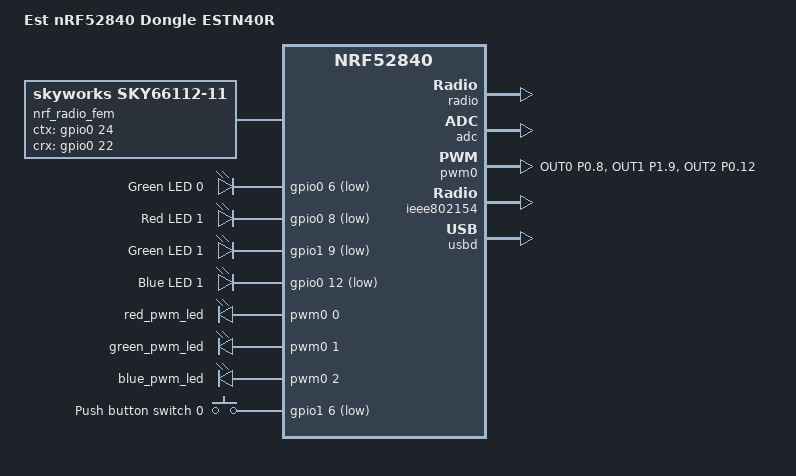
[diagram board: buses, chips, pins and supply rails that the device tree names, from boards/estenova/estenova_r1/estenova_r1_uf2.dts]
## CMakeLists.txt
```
#
# Copyright (c) 2018 Nordic Semiconductor
#
# SPDX-License-Identifier: LicenseRef-Nordic-5-Clause
#
cmake_minimum_required(VERSION 3.20.0)

# Configure build metadata from git (best-effort)
find_package(Git)

if(GIT_EXECUTABLE)
  execute_process(
    COMMAND ${GIT_EXECUTABLE} branch --show-current
    WORKING_DIRECTORY ${CMAKE_SOURCE_DIR}
    OUTPUT_VARIABLE GIT_BRANCH
    )
  # Prefer a https URL for display (falls back to 'unknown')
  execute_process(
    COMMAND ${GIT_EXECUTABLE} config --get remote.origin.url
    WORKING_DIRECTORY ${CMAKE_SOURCE_DIR}
    OUTPUT_VARIABLE GIT_REPO_URL_SSH
    )
  execute_process(
    COMMAND ${GIT_EXECUTABLE} config --get remote.origin.https.url
    WORKING_DIRECTORY ${CMAKE_SOURCE_DIR}
    OUTPUT_VARIABLE GIT_REPO_URL_HTTPS
    )
  execute_process(
    COMMAND ${GIT_EXECUTABLE} log -1 --pretty=%an
    WORKING_DIRECTORY ${CMAKE_SOURCE_DIR}
    OUTPUT_VARIABLE GIT_AUTHOR
    )
endif()

if(GIT_BRANCH STREQUAL "")
  set(GIT_BRANCH unknown)
  message(WARNING "Unknown Git Branch")
endif()
# Choose URL: origin.https.url > origin.url
if(NOT GIT_REPO_URL_HTTPS STREQUAL "")
  set(GIT_REPO_URL ${GIT_REPO_URL_HTTPS})
else()
  set(GIT_REPO_URL ${GIT_REPO_URL_SSH})
endif()

# Normalize GitHub SSH URLs to HTTPS for display in firmware info
if(GIT_REPO_URL MATCHES "^git@github\\.com:(.+)$")
  set(GIT_REPO_URL "https://github.com/${CMAKE_MATCH_1}")
elseif(GIT_REPO_URL MATCHES "^ssh://git@github\\.com/(.+)$")
  set(GIT_REPO_URL "https://github.com/${CMAKE_MATCH_1}")
endif()
string(REGEX REPLACE "\\.git$" "" GIT_REPO_URL "${GIT_REPO_URL}")

if(GIT_REPO_URL STREQUAL "")
  set(GIT_REPO_URL unknown)
  message(WARNING "Unknown Git Repo URL")
endif()
if(GIT_AUTHOR STREQUAL "")
  set(GIT_AUTHOR unknown)
  message(WARNING "Unknown Git Author")
endif()

string(STRIP ${GIT_BRANCH} GIT_BRANCH)
string(STRIP ${GIT_REPO_URL} GIT_REPO_URL)
string(STRIP ${GIT_AUTHOR} GIT_AUTHOR)

# Pass metadata to C compilation units
add_compile_definitions(
  FW_GIT_BRANCH="${GIT_BRANCH}"
  FW_GIT_REPO_URL="${GIT_REPO_URL}"
  FW_GIT_AUTHOR="${GIT_AUTHOR}"
)

set(SLIMEVR_RECEIVER_HID_OVERLAY ${CMAKE_CURRENT_SOURCE_DIR}/boards/receiver_hid.overlay)
set(SLIMEVR_RECEIVER_ENTROPY_OVERLAY ${CMAKE_CURRENT_SOURCE_DIR}/boards/receiver_entropy.overlay)

if(DEFINED EXTRA_DTC_OVERLAY_FILE)
  set(EXTRA_DTC_OVERLAY_FILE ${SLIMEVR_RECEIVER_HID_OVERLAY} ${EXTRA_DTC_OVERLAY_FILE} ${SLIMEVR_RECEIVER_ENTROPY_OVERLAY})
else()
  set(EXTRA_DTC_OVERLAY_FILE ${SLIMEVR_RECEIVER_HID_OVERLAY} ${SLIMEVR_RECEIVER_ENTROPY_OVERLAY})
endif()

find_package(Zephyr REQUIRED HINTS $ENV{ZEPHYR_BASE})
project(NONE)

FILE(GLOB_RECURSE app_sources CONFIGURE_DEPENDS src/*.c)
if(NOT CONFIG_RELAY)
  list(FILTER app_sources EXCLUDE REGEX ".*/connection/relay_coord\\.c$")
endif()
# Data collection: choose HID or CDC implementation, or exclude both
if(CONFIG_DATA_COLLECT)
  if(CONFIG_DATA_COLLECT_HID)
    # HID mode: exclude CDC implementation
    list(FILTER app_sources EXCLUDE REGEX ".*data_collect\\.c$")
  else()
    # CDC mode: exclude HID implementation
    list(FILTER app_sources EXCLUDE REGEX ".*data_collect_hid\\.c$")
  endif()
else()
  # No data collection: exclude both
  list(FILTER app_sources EXCLUDE REGEX ".*data_collect.*\\.c$")
endif()
# NORDIC SDK APP START
target_sources(app PRIVATE ${app_sources})
# NORDIC SDK APP END

target_include_directories(app PRIVATE src)

# Force recompile for updated build timestamp
add_custom_target(touch_util_h ALL
    COMMAND ${CMAKE_COMMAND} -E touch ${CMAKE_SOURCE_DIR}/src/build_defines.h
)
```

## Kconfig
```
#
# Copyright (c) 2020 Nordic Semiconductor
#
# SPDX-License-Identifier: LicenseRef-Nordic-5-Clause
#

choice
	prompt "Status LED color mapping"
    default LED_TRI_COLOR

config LED_RGB_COLOR
    bool "Use RGB color mapping"
    help
        Use RGB or RG color mapping for LED status if available.

config LED_TRI_COLOR
    bool "Use default color mapping"
    help
        Use the default color mapping for LED status.

endchoice

menu "Status LED default status color"
    depends on LED_RGB_COLOR

config LED_DEFAULT_COLOR_R
    int "Red value"
    range 0 10000
    default 4000
    depends on LED_RGB_COLOR
    help
        Red color for default status.
        Valid range is 0 to 10000.

config LED_DEFAULT_COLOR_G
    int "Green value"
    range 0 10000
    default 6000
    depends on LED_RGB_COLOR
    help
        Green color for default status.
        Valid range is 0 to 10000.

config LED_DEFAULT_COLOR_B
    int "Blue value"
    range 0 10000
    default 0
    depends on LED_RGB_COLOR
    help
        Blue color for default status.
        Valid range is 0 to 10000.

endmenu

config RADIO_TX_POWER
    int "Radio output power (dBm)"
    default 30
    help
        Radio output power level.
        A lower value may reduce power consumption.

config RADIO_RF_CHANNEL
    int "Radio RF channel"
    default 2
    help
        Radio RF channel (0-100).
        Must match the receiver channel.

config RADIO_AUTO_CHANNEL
    bool "Loss-triggered runtime receiver channel avoidance"
    default y
    select ENTROPY_GENERATOR
    help
        Compile automatic avoidance support; runtime starts disabled on every
        boot. Explicit channelauto on enables it until reboot.
        Exchange short no-ACK identity beacons on the working channel
        every 2-4 seconds. A full 10-second normal sequence-loss window
        with at least 100 inferred frames and strictly more than 20% loss starts
        a distributed energy survey and finalist confirmation. Choose only
        even channels 0-88 with strictly quieter accepted peak energy than
        HOME; ties and incomplete coverage do not move. Matched paired-address
        activity rejects a visit. Known peer channels are excluded; HOME-only
        beacons do not negotiate destinations or prove other channels vacant.
        No observed peer is required for one trial migration. After a
        successful move and original-roster recovery, a fresh window on a
        stable receiver layout with persistent >20% loss stops automatic
        radio actions and suggests possible host USB/RF
        interference: use an extension cable and move away from the host.
        Explicit channelauto on or reboot clears the persistent-loss stop;
        reboot leaves avoidance disabled.
        Manual settings retain range 0-100; candidate channel 90 is excluded.
        Defers during pairing, OTA, raw capture and channel operations.
        Test-all suspends loss scans; working-channel beacons continue.
        A manual override disables avoidance until explicit channelauto on.

config RADIO_RETRANSMIT_DELAY
    int "Radio retransmit delay (µs)"
    default 600
    help
        Radio retransmit delay.

config PAIRING_TIMEOUT
    int "Pairing mode timeout (seconds)"
    default 300
    help
        Timeout for pairing mode in seconds.
        After this time, pairing mode will automatically exit.
        Default is 300 seconds (5 minutes).
        Set to 0 to disable timeout.

config DATA_COLLECT
    bool "Enable raw sensor data collection interface"
    default n
    help
        Enable streaming raw IMU and magnetometer data from trackers.
        Choose HID or CDC transport via DATA_COLLECT_HID.

config DATA_COLLECT_HID
    bool "Use HID endpoint for data collection (instead of CDC serial)"
    depends on DATA_COLLECT
    default y
    help
        When enabled, raw data is sent via a dedicated HID endpoint.
        When disabled, raw data is sent via a second CDC ACM serial port.

config SLIMEVR_USB_DEVICE_VID
    hex "SlimeVR USB vendor ID"
    default 0x1209
    help
        USB vendor ID used by the SlimeVR USBD_NEXT device.

config SLIMEVR_USB_DEVICE_PID
    hex "SlimeVR USB product ID"
    default 0x7690
    help
        USB product ID used by the SlimeVR receiver firmware.

config SLIMEVR_USB_DEVICE_MANUFACTURER
    string "SlimeVR USB manufacturer"
    default "SlimeVR"
    help
        USB manufacturer string and console banner prefix.

config SLIMEVR_USB_DEVICE_PRODUCT
    string "SlimeVR USB product"
    default "SlimeNRF Receiver"
    help
        USB product string and console banner name.

config SLIMEVR_USB_DEVICE_MAX_POWER
    int "SlimeVR USB max power"
    range 0 250
    default 100
    help
        USB bMaxPower value in 2 mA units.

menu "TDMA diagnostics"

config TDMA_DIAGNOSTICS
    bool "Compile in TDMA/RF phase diagnostics"
    default n
    help
        Per-tracker phase/RSSI histograms, arrival phase checks, PING
        bias/skew and rejection tracking, the TDMA Stats phase warning,
        and the console health snapshot.
        Disable for production builds to remove diagnostic timestamps,
        phase accounting and warning calculations from the radio paths.
        TDMA scheduling, membership, loss control, PING/PONG clock sync
        and ordinary packet statistics stay functional without this
        option; only measurement instrumentation is removed.

endmenu

# App defaults must precede the SDK defaults.
# With RTT in its own section at the RAM start, MPU alignment of the relay
# RAM functions adds about 15 KB of padding. RTT stays enabled either way.
choice SEGGER_RTT_SECTION
    default SEGGER_RTT_SECTION_NONE if RELAY
endchoice

# The `relay` console dump goes through the deferred log buffer and loses its
# first lines at 4 KB with 11 trackers. Builds without relay keep 4 KB.
config LOG_BUFFER_SIZE
    default 16384 if RELAY && !SOC_NRF52833
    default 4096

source "Kconfig.zephyr"

config RELAY
    bool "Receiver-coordinated peer relay (relay v3)"
    default y if SRAM_SIZE >= 128 && !(SOC_NRF52833 && DATA_COLLECT)
    depends on ESB_HAS_PRX_BROADCAST && ESB_HAS_RX_METADATA
    select ESB_PRX_BROADCAST
    select ESB_RX_METADATA
    help
        Enable peer relay when the SDK provides the optional ESB extensions.
        It is on by default on every SoC the SDK supports with at least
        128 KB of RAM. Stock sdk-nrf builds retain the ordinary direct
        tracker protocol. The SDK broadcast is nRF52-only for now; nRF54L
        receivers (DPPI, GRTC) are WIP.
        nRF52833 runs relay code from flash and is not recommended as a
        relay receiver. On nRF52833, relay and
        DATA_COLLECT do not fit together, so relay defaults off there when
        raw data collection is enabled.

if RELAY

config RELAY_RAMFUNC
    bool "Run relay freeze and repeat code from RAM"
    default n if SOC_NRF52833
    default y

config RELAY_RESCUE_DIAGNOSTICS
    bool "Rescue candidate eligibility ledger"
    default n
    depends on RELAY_FRAME_LEDGER

config RELAY_CYCLE_DIAGNOSTICS
    bool "Detailed relay CPU cycle diagnostics"
    depends on CPU_CORTEX_M_HAS_DWT
    default n
    help
        Measure relay processing with DWT. Production omits these probes.

config RELAY_IRQ_DIAGNOSTICS
    bool "Whole relay IRQ lock duration probes"
    depends on CPU_CORTEX_M_HAS_DWT
    default n
    help
        Diagnostic-only DWT maxima for complete source or coordinator locks.
        Retains all production guards. Never enable for acceptance images.

config RELAY_RUNTIME_LAYOUT
    bool
    default y

config RELAY_MAX_TRACKERS
    int "Maximum private relay members"
    range 1 16
    default 16

config RELAY_MAX_REPAIRS
    int "Maximum ordinary repair slots"
    range 0 5
    default 5

config RELAY_REPAIR_FLOOR
    int "Minimum ordinary repair slots (experimental below ceiling)"
    range 0 5
    default RELAY_MAX_REPAIRS
    help
      Equal to the ceiling selects production static repair. Lower values
      explicitly opt into experimental on-demand repair.

config RELAY_EXPERIMENTAL_SLOT_15
    bool "Allow experimental 15-tick relay slots"
    default n

config RELAY_SLOT_TICKS
    int "Private relay slot width"
    range 15 16 if RELAY_EXPERIMENTAL_SLOT_15
    range 16 16 if !RELAY_EXPERIMENTAL_SLOT_15
    default 16

config RELAY_TPS_MIN
    int "TPS target held by shrinking repair slots"
    range 1 32768
    default 120

config RELAY_TPS_MAX
    int "Private relay TPS cap"
    range 1 32768
    default 120

config RELAY_FORCE_FULL_FLEET_PLAN
    bool "Plan B at the full-fleet lead"
    default n
    help
        Exercise live direct-slot planning even with a partially populated fleet.
        Applies to every runtime layout when enabled.

endif # RELAY
```

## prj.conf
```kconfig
#CONFIG_NCS_SAMPLES_DEFAULTS
CONFIG_ASSERT=y
CONFIG_ASSERT_NO_COND_INFO=y
CONFIG_ASSERT_NO_MSG_INFO=y
CONFIG_RESET_ON_FATAL_ERROR=n
CONFIG_REBOOT=y

CONFIG_NCS_APPLICATION_BOOT_BANNER_STRING="SlimeVR-Tracker-nRF-Receiver"
#CONFIG_NCS_BOOT_BANNER=n
CONFIG_BOOT_BANNER=n

# HEX carries mapped-partition addresses for native UF2 generation.
CONFIG_BUILD_OUTPUT_HEX=y

CONFIG_ESB=y
CONFIG_PICOLIBC=y
CONFIG_CBPRINTF_FP_SUPPORT=y

CONFIG_FPU=y

CONFIG_USB_DEVICE_STACK_NEXT=y
CONFIG_USBD_HID_SUPPORT=y
CONFIG_USBD_CDC_ACM_CLASS=y
CONFIG_CDC_ACM_SERIAL_INITIALIZE_AT_BOOT=n
CONFIG_SLIMEVR_USB_DEVICE_VID=0x1209
CONFIG_SLIMEVR_USB_DEVICE_PID=0x7690
CONFIG_UART_INTERRUPT_DRIVEN=y
#CONFIG_USB_WORKQUEUE_STACK_SIZE=512

CONFIG_SERIAL=y
CONFIG_CONSOLE=y
CONFIG_UART_CONSOLE=y
CONFIG_UART_LINE_CTRL=y

CONFIG_USE_SEGGER_RTT=y
CONFIG_LOG=y
#CONFIG_PRINTK=y
CONFIG_LOG_MODE_DEFERRED=y
CONFIG_LOG_SPEED=y
CONFIG_LOG_BACKEND_RTT=y
CONFIG_USBD_LOG_LEVEL_WRN=y
CONFIG_UDC_DRIVER_LOG_LEVEL_WRN=y
CONFIG_USBD_CDC_ACM_LOG_LEVEL_OFF=y
CONFIG_UDC_BUF_POOL_SIZE=4096
CONFIG_LOG_PROCESS_THREAD_SLEEP_MS=100
CONFIG_LOG_PROCESS_THREAD_STACK_SIZE=1024
CONFIG_LOG_PROCESS_THREAD_STARTUP_DELAY_MS=0

CONFIG_LOG_BACKEND_UART=y
CONFIG_LOG_BACKEND_UART_AUTOSTART=n
CONFIG_LOG_MODE_DEFERRED=y

CONFIG_CONSOLE_SUBSYS=y

CONFIG_NVS_LOG_LEVEL_WRN=y
CONFIG_USBD_HID_LOG_LEVEL_WRN=y

CONFIG_USBD_HID_IN_BUF_COUNT=4
CONFIG_USBD_HID_OUT_BUF_COUNT=4

CONFIG_GPIO=y
CONFIG_PWM=y

CONFIG_NVS=y

CONFIG_FLASH=y
CONFIG_FLASH_PAGE_LAYOUT=y
CONFIG_FLASH_MAP=y
CONFIG_USE_DT_CODE_PARTITION=y

CONFIG_SETTINGS=y
CONFIG_SETTINGS_NVS=y
CONFIG_SETTINGS_RUNTIME=y
CONFIG_SETTINGS_NONE=y

CONFIG_MPU_ALLOW_FLASH_WRITE=y

CONFIG_NVS_LOOKUP_CACHE=y

CONFIG_ESB_MAX_PAYLOAD_LENGTH=72
CONFIG_ESB_TX_FIFO_SIZE=16
CONFIG_ESB_RX_FIFO_SIZE=16
# CONFIG_NRFX_TIMER1=y

#speed up boot? (use internal rc oscillator)
#CONFIG_CLOCK_CONTROL_NRF_K32SRC_RC=y
#speed up boot? (synthesize lf clock)
CONFIG_CLOCK_CONTROL_NRF_K32SRC_SYNTH=y

# dont need it
CONFIG_CRYPTO=n

CONFIG_THREAD_NAME=y
CONFIG_SYSTEM_WORKQUEUE_STACK_SIZE=2048
CONFIG_MAIN_STACK_SIZE=2048

#CONFIG_HEAP_MEM_POOL_SIZE=2048
CONFIG_ISR_STACK_SIZE=1024

CONFIG_RADIO_RF_CHANNEL=84
CONFIG_RADIO_RETRANSMIT_DELAY=310
CONFIG_RADIO_TX_POWER=30

CONFIG_LTO=y
CONFIG_ISR_TABLES_LOCAL_DECLARATION=y

# B launch uses an RTC compare event to start the ESB timer through PPI.
CONFIG_NRF_RTC_TIMER_USER_CHAN_COUNT=2
```

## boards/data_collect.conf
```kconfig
# Enable raw sensor data collection interface
CONFIG_DATA_COLLECT=y
# Use HID endpoint (set to n for CDC serial mode)
CONFIG_DATA_COLLECT_HID=y
CONFIG_USB_HID_DEVICE_COUNT=2
```

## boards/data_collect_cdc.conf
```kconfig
# Enable raw sensor data collection via CDC serial port
CONFIG_DATA_COLLECT=y
CONFIG_DATA_COLLECT_HID=n
# Keep CDC ACM buffers modest: this build creates two CDC ACM interfaces,
# so the global ringbuf size is multiplied across multiple RX/TX buffers.
CONFIG_USB_CDC_ACM_RINGBUF_SIZE=4096
```

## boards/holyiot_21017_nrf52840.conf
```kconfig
# Requested aggregate output at the antenna. MPSL subtracts the 22 dB FEM gain
# to set the SoC TXPOWER (28 dBm -> +6 dBm SoC), leaving 2 dB below prj.conf's
# 30 dBm, which drives the SKY66112 PA at its limit.
CONFIG_RADIO_TX_POWER=28
```

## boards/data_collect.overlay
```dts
/* Data collection HID interface - only included when CONFIG_DATA_COLLECT=y.
 * Uses second HID instance (HID_1) for raw sensor data output.
 * No CDC ACM needed - data goes via HID interrupt endpoint. */
```

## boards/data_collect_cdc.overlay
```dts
/* CDC ACM interface for data collection (serial mode) */
&usbd {
	cdc_acm_uart1: cdc_acm_uart1 {
		compatible = "zephyr,cdc-acm-uart";
	};
};
```

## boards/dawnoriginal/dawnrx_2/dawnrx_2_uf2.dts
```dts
// Copyright (c) 2024 Nordic Semiconductor ASA
// SPDX-License-Identifier: Apache-2.0

/dts-v1/;
#include <nordic/nrf52833_qdaa.dtsi>
#include <zephyr/dt-bindings/input/input-event-codes.h>

&pinctrl {
	pwm0_default: pwm0_default {
		group1 {
			psels = <NRF_PSEL(PWM_OUT0, 1, 9)>;
			nordic,invert;
		};
	};

	pwm0_sleep: pwm0_sleep {
		group1 {
			psels = <NRF_PSEL(PWM_OUT0, 1, 9)>;
			low-power-enable;
		};
	};
};

/ {
	model = "Dawn Tracker nRF Receiver 2";
	compatible = "dawnrx_2_uf2";

	chosen {
		zephyr,console = &cdc_acm_uart;
		zephyr,shell-uart = &cdc_acm_uart;
		zephyr,uart-mcumgr = &cdc_acm_uart;
		zephyr,bt-mon-uart = &cdc_acm_uart;
		zephyr,bt-c2h-uart = &cdc_acm_uart;
		zephyr,sram = &sram0;
		zephyr,flash = &flash0;
		zephyr,ieee802154 = &ieee802154;
	};

	nrf_radio_fem: sky66112_fem {
		compatible = "skyworks,sky66112-11", "radio-fem-two-ctrl-pins";
		ctx-gpios = <&gpio0 10 GPIO_ACTIVE_HIGH>;
		ctx-settle-time-us = <2>;
		crx-gpios = <&gpio0 9 GPIO_ACTIVE_HIGH>;
		crx-settle-time-us = <2>;
		tx-gain-db = <22>;
		rx-gain-db = <12>;
	};

	leds {
		compatible = "gpio-leds";
		led0: led_0 {
			gpios = <&gpio1 9 GPIO_ACTIVE_LOW>;
			label = "Status LED";
		};
	};

	pwmleds {
		compatible = "pwm-leds";
		pwm_led0: pwm_led_0 {
			pwms = <&pwm0 0 PWM_MSEC(1) PWM_POLARITY_INVERTED>;
		};
	};

	buttons {
		compatible = "gpio-keys";
		button0: button_0 {
			gpios = <&gpio0 11 (GPIO_PULL_UP | GPIO_ACTIVE_LOW)>;
			label = "Pairing button";
			zephyr,code = <INPUT_KEY_0>;
		};
	};

	aliases {
		sw0 = &button0;
		led0 = &led0;
		pwm-led0 = &pwm_led0;
		watchdog0 = &wdt0;
	};
};

&reg0 {
	status = "disabled";
};

&reg1 {
	regulator-initial-mode = <NRF5X_REG_MODE_LDO>;
};

&radio {
	fem = <&nrf_radio_fem>;
};

&adc {
	status = "okay";
};

&gpio0 {
	status = "okay";
};

&gpio1 {
	status = "okay";
};

&gpiote {
	status = "okay";
};

&uicr {
	nfct-pins-as-gpios;
	gpio-as-nreset;
};

&pwm0 {
	status = "okay";
	pinctrl-0 = <&pwm0_default>;
	pinctrl-1 = <&pwm0_sleep>;
	pinctrl-names = "default", "sleep";
};

&ieee802154 {
	status = "okay";
};

zephyr_udc0: &usbd {
	compatible = "nordic,nrf-usbd";
	status = "okay";

	cdc_acm_uart: cdc_acm_uart {
		compatible = "zephyr,cdc-acm-uart";
	};
};
```

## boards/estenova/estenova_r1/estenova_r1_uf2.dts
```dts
// Copyright (c) 2024 Nordic Semiconductor ASA
// SPDX-License-Identifier: Apache-2.0

/dts-v1/;
#include <nordic/nrf52840_qiaa.dtsi>
#include <zephyr/dt-bindings/input/input-event-codes.h>

&pinctrl {
	pwm0_default: pwm0_default {
		group1 {
			psels = <NRF_PSEL(PWM_OUT0, 0, 8)>,
				<NRF_PSEL(PWM_OUT1, 1, 9)>,
				<NRF_PSEL(PWM_OUT2, 0, 12)>;
			nordic,invert;
		};
	};

	pwm0_sleep: pwm0_sleep {
		group1 {
			psels = <NRF_PSEL(PWM_OUT0, 0, 8)>,
				<NRF_PSEL(PWM_OUT1, 1, 9)>,
				<NRF_PSEL(PWM_OUT2, 0, 12)>;
			low-power-enable;
		};
	};
};

/ {
	model = "Est nRF52840 Dongle ESTN40R";
	compatible = "estenova_r1_uf2";

	chosen {
		zephyr,console = &cdc_acm_uart;
		zephyr,shell-uart = &cdc_acm_uart;
		zephyr,uart-mcumgr = &cdc_acm_uart;
		zephyr,bt-mon-uart = &cdc_acm_uart;
		zephyr,bt-c2h-uart = &cdc_acm_uart;
		zephyr,sram = &sram0;
		zephyr,flash = &flash0;
		zephyr,ieee802154 = &ieee802154;
	};

	nrf_radio_fem: skyFem {
		compatible = "skyworks,sky66112-11", "radio-fem-two-ctrl-pins";
		ctx-gpios = <&gpio0 24 GPIO_ACTIVE_HIGH>;
		ctx-settle-time-us = <2>;
		crx-gpios = <&gpio0 22 GPIO_ACTIVE_HIGH>;
		crx-settle-time-us = <2>;
		tx-gain-db = <22>;
		rx-gain-db = <12>;
	};

	leds {
		compatible = "gpio-leds";
		led0_green: led_0 {
			gpios = <&gpio0 6 GPIO_ACTIVE_LOW>;
			label = "Green LED 0";
		};
		led1_red: led_1 {
			gpios = <&gpio0 8 GPIO_ACTIVE_LOW>;
			label = "Red LED 1";
		};
		led1_green: led_2 {
			gpios = <&gpio1 9 GPIO_ACTIVE_LOW>;
			label = "Green LED 1";
		};
		led1_blue: led_3 {
			gpios = <&gpio0 12 GPIO_ACTIVE_LOW>;
			label = "Blue LED 1";
		};
	};

	pwmleds {
		compatible = "pwm-leds";
		red_pwm_led: pwm_led_0 {
			pwms = <&pwm0 0 PWM_MSEC(1) PWM_POLARITY_INVERTED>;
		};
		green_pwm_led: pwm_led_1 {
			pwms = <&pwm0 1 PWM_MSEC(1) PWM_POLARITY_INVERTED>;
		};
		blue_pwm_led: pwm_led_2 {
			pwms = <&pwm0 2 PWM_MSEC(1) PWM_POLARITY_INVERTED>;
		};
	};

	buttons {
		compatible = "gpio-keys";
		button0: button_0 {
			gpios = <&gpio1 6 (GPIO_PULL_UP | GPIO_ACTIVE_LOW)>;
			label = "Push button switch 0";
			zephyr,code = <INPUT_KEY_0>;
		};
	};

	aliases {
		sw0 = &button0;
		led0 = &led0_green;
		led1 = &led1_red;
		led2 = &led1_green;
		led3 = &led1_blue;
		led0-green = &led0_green;
		led1-red   = &led1_red;
		led1-green = &led1_green;
		led1-blue  = &led1_blue;
		pwm-led0 = &red_pwm_led;
		pwm-led1 = &green_pwm_led;
		pwm-led2 = &blue_pwm_led;
		red-pwm-led = &red_pwm_led;
		green-pwm-led = &green_pwm_led;
		blue-pwm-led = &blue_pwm_led;
		mcuboot-button0 = &button0;
		mcuboot-led0 = &led0_green;
		watchdog0 = &wdt0;
	};
};

&reg0 {
    status = "disabled";
};

&reg1 {
    regulator-initial-mode = <NRF5X_REG_MODE_LDO>;
};

&radio {
    fem = <&nrf_radio_fem>;
};

&adc {
	status = "okay";
};

&gpiote {
	status = "okay";
};

&uicr {
	nfct-pins-as-gpios;
	gpio-as-nreset;
};

&gpio0 {
	status = "okay";
};

&gpio1 {
	status = "okay";
};

&pwm0 {
	status = "okay";
	pinctrl-0 = <&pwm0_default>;
	pinctrl-1 = <&pwm0_sleep>;
	pinctrl-names = "default", "sleep";
};

&ieee802154 {
	status = "okay";
};

zephyr_udc0: &usbd {
	compatible = "nordic,nrf-usbd";
	status = "okay";

	cdc_acm_uart: cdc_acm_uart {
		compatible = "zephyr,cdc-acm-uart";
	};
};
```

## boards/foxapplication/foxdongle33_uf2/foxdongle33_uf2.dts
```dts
// Copyright (c) 2024 Nordic Semiconductor ASA
// SPDX-License-Identifier: Apache-2.0

/dts-v1/;
#include <nordic/nrf52833_qiaa.dtsi>
#include <zephyr/dt-bindings/input/input-event-codes.h>

&pinctrl {
	pwm0_default: pwm0_default {
		group1 {
			psels = <NRF_PSEL(PWM_OUT0, 0, 3)>,<NRF_PSEL(PWM_OUT0, 0, 28)>,<NRF_PSEL(PWM_OUT0, 0, 2)>;
			nordic,drive-mode = <NRF_DRIVE_D0S1>;
			nordic,invert;
		};
	};

	pwm0_sleep: pwm0_sleep {
		group1 {
			psels = <NRF_PSEL(PWM_OUT0, 0, 3)>,<NRF_PSEL(PWM_OUT0, 0, 28)>,<NRF_PSEL(PWM_OUT0, 0, 2)>;
			low-power-enable;
		};
	};
};

/ {
	model = "Foxapplication nRF52833 FoxDongle33";
	compatible = "foxdongle33_uf2";

	chosen {
		zephyr,console = &cdc_acm_uart;
		zephyr,shell-uart = &cdc_acm_uart;
		zephyr,uart-mcumgr = &cdc_acm_uart;
		zephyr,bt-mon-uart = &cdc_acm_uart;
		zephyr,bt-c2h-uart = &cdc_acm_uart;
		zephyr,sram = &sram0;
		zephyr,flash = &flash0;
		zephyr,ieee802154 = &ieee802154;
	};

	nrf_radio_fem: skyFem {
		compatible = "skyworks,sky66112-11", "generic-fem-two-ctrl-pins";
		ctx-gpios = <&gpio0 17 GPIO_ACTIVE_HIGH>;
		ctx-settle-time-us = <23>;
		crx-gpios = <&gpio0 15 GPIO_ACTIVE_HIGH>;
		crx-settle-time-us = <8>;
		tx-gain-db = <22>;
		rx-gain-db = <12>;
	};

	pwmleds {
		compatible = "pwm-leds";
		pwm_led0: pwm_led_0 {
			pwms = <&pwm0 0 PWM_MSEC(1) PWM_POLARITY_NORMAL>;
		};
		pwm_led1: pwm_led_1 {
			pwms = <&pwm0 1 PWM_MSEC(1) PWM_POLARITY_NORMAL>;
		};
		pwm_led2: pwm_led_2 {
			pwms = <&pwm0 2 PWM_MSEC(1) PWM_POLARITY_NORMAL>;
		};
	};
	leds {
		compatible = "gpio-leds";
		led0: led_0 {
			gpios = <&gpio0 28 GPIO_OPEN_SOURCE>;
		};
		led1: led_1 {
			gpios = <&gpio0 2 GPIO_OPEN_SOURCE>;
		};
		led2: led_2 {
			gpios = <&gpio0 3 GPIO_OPEN_SOURCE>;
		};
	};

	buttons {
		compatible = "gpio-keys";
		button0: button_0 {
			gpios = <&gpio0 4 (GPIO_PULL_UP | GPIO_ACTIVE_LOW)>;
			label = "Push button switch 0";
			zephyr,code = <INPUT_KEY_0>;
		};
	};

	aliases {
		sw0 = &button0;
		pwm-led0 = &pwm_led0;
		pwm-led1 = &pwm_led1;
		pwm-led2 = &pwm_led2;
		led0 = &led0;
		led1 = &led1;
		led2 = &led2;
		watchdog0 = &wdt0;
	};
};

&reg0 {
	status = "disabled";
};

&reg1 {
	regulator-initial-mode = <NRF5X_REG_MODE_LDO>;
};

&radio {
	fem = <&nrf_radio_fem>;
};

&adc {
	status = "okay";
};

&gpio0 {
	status = "okay";
};

&gpio1 {
	status = "okay";
};

&gpiote {
	status = "okay";
};

&uicr {
	nfct-pins-as-gpios;
	gpio-as-nreset;
};

&pwm0 {
	status = "okay";
	pinctrl-0 = <&pwm0_default>;
	pinctrl-1 = <&pwm0_sleep>;
	pinctrl-names = "default", "sleep";
};

&ieee802154 {
	status = "okay";
};

zephyr_udc0: &usbd {
	compatible = "nordic,nrf-usbd";
	status = "okay";

	cdc_acm_uart: cdc_acm_uart {
		compatible = "zephyr,cdc-acm-uart";
	};
};

&nfct {
	status = "disabled";
};
```

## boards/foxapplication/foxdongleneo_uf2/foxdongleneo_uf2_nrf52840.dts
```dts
// Copyright (c) 2024 Nordic Semiconductor ASA
// SPDX-License-Identifier: Apache-2.0

/dts-v1/;
#include <nordic/nrf52840_qiaa.dtsi>
#include <zephyr/dt-bindings/input/input-event-codes.h>

&pinctrl {
	pwm0_default: pwm0_default {
		group1 {
			psels = <NRF_PSEL(PWM_OUT0, 0, 13)>,
				<NRF_PSEL(PWM_OUT1, 0, 17)>,
				<NRF_PSEL(PWM_OUT2, 0, 15)>;
			nordic,drive-mode = <NRF_DRIVE_D0S1>;
		};
	};

	pwm0_sleep: pwm0_sleep {
		group1 {
			psels = <NRF_PSEL(PWM_OUT0, 0, 13)>,
				<NRF_PSEL(PWM_OUT1, 0, 17)>,
				<NRF_PSEL(PWM_OUT2, 0, 15)>;
			low-power-enable;
		};
	};
};

/ {
	model = "FoxApplication nRF52840 FoxDongleNEO";
	compatible = "foxapplication,foxdongleneo";

	chosen {
		zephyr,console = &cdc_acm_uart;
		zephyr,shell-uart = &cdc_acm_uart;
		zephyr,uart-mcumgr = &cdc_acm_uart;
		zephyr,sram = &sram0;
		zephyr,flash = &flash0;
	};

	nrf_radio_fem: radio-fem {
		compatible = "skyworks,sky66112-11", "radio-fem-two-ctrl-pins";
		ctx-gpios = <&gpio0 10 GPIO_ACTIVE_HIGH>;
		ctx-settle-time-us = <23>;
		crx-gpios = <&gpio0 9 GPIO_ACTIVE_HIGH>;
		crx-settle-time-us = <8>;
		tx-gain-db = <22>;
		rx-gain-db = <12>;
	};

	pwmleds {
		compatible = "pwm-leds";
		pwm_led0: pwm_led_0 {
			pwms = <&pwm0 0 PWM_MSEC(1) PWM_POLARITY_NORMAL>;
		};
		pwm_led1: pwm_led_1 {
			pwms = <&pwm0 1 PWM_MSEC(1) PWM_POLARITY_NORMAL>;
		};
		pwm_led2: pwm_led_2 {
			pwms = <&pwm0 2 PWM_MSEC(1) PWM_POLARITY_NORMAL>;
		};
	};

	leds {
		compatible = "gpio-leds";
		led0: led_0 {
			gpios = <&gpio0 13 GPIO_ACTIVE_HIGH>;
			label = "Red (P0.13)";
		};
		led1: led_1 {
			gpios = <&gpio0 17 GPIO_ACTIVE_HIGH>;
			label = "Green (P0.17)";
		};
		led2: led_2 {
			gpios = <&gpio0 15 GPIO_ACTIVE_HIGH>;
			label = "Blue (P0.15)";
		};
	};

	buttons {
		compatible = "gpio-keys";
		button0: button_0 {
			gpios = <&gpio1 9 (GPIO_PULL_UP | GPIO_ACTIVE_LOW)>;
			label = "Pairing button";
			zephyr,code = <INPUT_KEY_0>;
		};
	};

	aliases {
		sw0 = &button0;
		pwm-led0 = &pwm_led0;
		pwm-led1 = &pwm_led1;
		pwm-led2 = &pwm_led2;
		led0 = &led0;
		led1 = &led1;
		led2 = &led2;
		watchdog0 = &wdt0;
	};
};

&reg0 {
	status = "disabled";
};

&reg1 {
	regulator-initial-mode = <NRF5X_REG_MODE_LDO>;
};

&radio {
	fem = <&nrf_radio_fem>;
};

&gpio0 {
	status = "okay";
};

&gpio1 {
	status = "okay";
};

&gpiote {
	status = "okay";
};

&uicr {
	nfct-pins-as-gpios;
	gpio-as-nreset;
};

&pwm0 {
	status = "okay";
	pinctrl-0 = <&pwm0_default>;
	pinctrl-1 = <&pwm0_sleep>;
	pinctrl-names = "default", "sleep";
};

zephyr_udc0: &usbd {
	compatible = "nordic,nrf-usbd";
	status = "okay";

	cdc_acm_uart: cdc_acm_uart {
		compatible = "zephyr,cdc-acm-uart";
	};
};

&cryptocell {
	status = "disabled";
};

&nfct {
	status = "disabled";
};
```

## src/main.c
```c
/*
	SlimeVR Code is placed under the MIT license
	Copyright (c) 2025 SlimeVR Contributors

	Permission is hereby granted, free of charge, to any person obtaining a copy
	of this software and associated documentation files (the "Software"), to deal
	in the Software without restriction, including without limitation the rights
	to use, copy, modify, merge, publish, distribute, sublicense, and/or sell
	copies of the Software, and to permit persons to whom the Software is
	furnished to do so, subject to the following conditions:

	The above copyright notice and this permission notice shall be included in
	all copies or substantial portions of the Software.

	THE SOFTWARE IS PROVIDED "AS IS", WITHOUT WARRANTY OF ANY KIND, EXPRESS OR
	IMPLIED, INCLUDING BUT NOT LIMITED TO THE WARRANTIES OF MERCHANTABILITY,
	FITNESS FOR A PARTICULAR PURPOSE AND NONINFRINGEMENT. IN NO EVENT SHALL THE
	AUTHORS OR COPYRIGHT HOLDERS BE LIABLE FOR ANY CLAIM, DAMAGES OR OTHER
	LIABILITY, WHETHER IN AN ACTION OF CONTRACT, TORT OR OTHERWISE, ARISING FROM,
	OUT OF OR IN CONNECTION WITH THE SOFTWARE OR THE USE OR OTHER DEALINGS IN
	THE SOFTWARE.
*/
#include "globals.h"
#include "system/system.h"
#include "system/led.h"
#include "system/status.h"
#include "connection/esb.h"

#include <zephyr/kernel.h>
#include <zephyr/sys/reboot.h>
#if defined(CONFIG_BOOTLOADER_MCUBOOT)
#include <zephyr/dfu/mcuboot.h>
#endif

LOG_MODULE_REGISTER(main, LOG_LEVEL_INF);

static void boot_confirm_after_healthy_uptime(void)
{
#if defined(CONFIG_BOOTLOADER_MCUBOOT) || \
	(CONFIG_SOC_SERIES_NRF52 && CONFIG_BUILD_OUTPUT_UF2)
	int64_t remaining_ms = 60000 - k_uptime_get();
	if (remaining_ms > 0) {
		k_sleep(K_MSEC(remaining_ms));
	}
	sys_mark_boot_success();
#if defined(CONFIG_BOOTLOADER_MCUBOOT)
	if (!boot_is_img_confirmed()) {
		int err = boot_write_img_confirmed();
		if (err) {
			LOG_ERR("Failed to confirm MCUboot image: %d", err);
		} else {
			LOG_INF("MCUboot test image confirmed");
		}
	}
#endif
#endif
}

int main(void)
{
	// Initialize LED system first
	set_led(SYS_LED_PATTERN_ACTIVE_PERSIST, SYS_LED_PRIORITY_SYSTEM);

	// Boot sequence with button detection
	set_led(SYS_LED_PATTERN_ON, SYS_LED_PRIORITY_BOOT);

	// Check if button is pressed during boot
	if (button_read())
	{
		LOG_INF("Button detected during boot");
		int64_t boot_start = k_uptime_get();
		bool pairing_reset_saved = false;

		while (button_read())
		{
			if (k_uptime_get() - boot_start > 1000)
				set_led(SYS_LED_PATTERN_LONG, SYS_LED_PRIORITY_HIGHEST);
			if (k_uptime_get() - boot_start > 5000)
			{
				LOG_INF("Boot-time pairing reset requested");
				pairing_reset_saved = esb_clear() == 0;
				break;
			}
			k_msleep(10);
		}

		if (pairing_reset_saved)
			set_led(SYS_LED_PATTERN_ONESHOT_COMPLETE, SYS_LED_PRIORITY_HIGHEST);
		else if (k_uptime_get() - boot_start > 50) // Short press during boot
			set_led(SYS_LED_PATTERN_ONESHOT_POWERON, SYS_LED_PRIORITY_HIGHEST);
	}

	// Clear boot LED priority
	set_led(SYS_LED_PATTERN_OFF, SYS_LED_PRIORITY_BOOT);
	boot_confirm_after_healthy_uptime();

	return 0;
}
```

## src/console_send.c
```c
/*
	SlimeVR Code is placed under the MIT license
	Copyright (c) 2025 SlimeVR Contributors

	Permission is hereby granted, free of charge, to any person obtaining a copy
	of this software and associated documentation files (the "Software"), to deal
	in the Software without restriction, including without limitation the rights
	to use, copy, modify, merge, publish, distribute, sublicense, and/or sell
	copies of the Software, and to permit persons to whom the Software is
	furnished to do so, subject to the following conditions:

	The above copyright notice and this permission notice shall be included in
	all copies or substantial portions of the Software.

	THE SOFTWARE IS PROVIDED "AS IS", WITHOUT WARRANTY OF ANY KIND, EXPRESS OR
	IMPLIED, INCLUDING BUT NOT LIMITED TO THE WARRANTIES OF MERCHANTABILITY,
	FITNESS FOR A PARTICULAR PURPOSE AND NONINFRINGEMENT. IN NO EVENT SHALL THE
	AUTHORS OR COPYRIGHT HOLDERS BE LIABLE FOR ANY CLAIM, DAMAGES OR OTHER
	LIABILITY, WHETHER IN AN ACTION OF CONTRACT, TORT OR OTHERWISE, ARISING FROM,
	OUT OF OR IN CONNECTION WITH THE SOFTWARE OR THE USE OR OTHER DEALINGS IN
	THE SOFTWARE.
*/
#include "console_send.h"
#include "parse_args.h"

#include "rcv_cmd.h"

#include <stdlib.h>
#include <string.h>
#include <zephyr/sys/printk.h>

#define SENS_AUTO_MAX_REVOLUTIONS 100

static void console_send_flag(bool target_all, uint8_t tracker_id, uint8_t flag, const char *name)
{
	uint8_t tid = target_all ? RCV_HID_TARGET_ALL : tracker_id;
	uint8_t st = rcv_cmd_remote_flag(tid, flag);
	if (st == RCV_HID_ST_QUEUED) {
		if (target_all) {
			printk("%s request sent to all active trackers\n", name);
		} else {
			printk("%s request sent to tracker %d\n", name, tracker_id);
		}
	} else {
		printk("%s failed: status %u\n", name, st);
	}
}

void console_handle_send(char *arg, char *arg2, char *arg3, char *arg4, char *arg5)
{
	if (!arg || !arg2) {
		printk("Usage: send <id|all> <command>\n");
		printk("Examples:\n");
		printk("  send 0 shutdown      - Shutdown tracker 0\n");
		printk("  send all shutdown    - Shutdown all active trackers\n");
		printk("  send 1 calibrate     - Zero-bias calibration on tracker 1\n");
		printk("  send 1 calibrate acc - Accelerometer calibration (18 orientations)\n");
		printk("  send all meow        - Make all active trackers meow\n");
		printk("  send 2 reboot        - Reboot tracker 2\n");
		printk("  send 3 clear         - Clear pairing on tracker 3\n");
		printk("  send all dfu         - Enter DFU mode on all active trackers\n");
		printk(
			"Available commands: shutdown, calibrate [acc], meow, scan, mag, reboot, clear, dfu, sens, "
			"reset, ping, tcal, tdma, test, wom enter, wom timeout [minutes]\n"
		);
		return;
	}

	bool target_all = (strcmp(arg, "all") == 0);
	uint8_t tracker_id = 0;

	if (!target_all) {
		long id;
		if (!parse_long_bounded(arg, 0, 255, &id)) {
			printk("Invalid tracker ID. Use a number (0-255) or 'all'\n");
			return;
		}
		tracker_id = (uint8_t)id;
	}

	if (strcmp(arg2, "wom") == 0) {
		bool enter = arg3 && strcmp(arg3, "enter") == 0;
		if (!arg3 || (!enter && strcmp(arg3, "timeout") != 0) ||
		    arg5 || (enter && arg4)) {
			printk("Usage: send <id|all> wom enter | wom timeout [minutes: 0-35791; 0 restores firmware default]\n");
			return;
		}
		uint32_t minutes = enter ? ESB_WOM_ENTER : 0;
		if (arg4) {
			long value;
			if (*arg4 < '0' || *arg4 > '9' ||
			    !parse_long_bounded(arg4, 0, 35791, &value)) {
				printk("Minutes must be an integer from 0 to 35791 (0 restores firmware default)\n");
				return;
			}
			minutes = (uint32_t)value;
			if (minutes == 0) {
				minutes = ESB_WOM_TIMEOUT_CLEAR;
			}
		}
		uint8_t st = rcv_cmd_remote_wom_command(
			target_all ? RCV_HID_TARGET_ALL : tracker_id, (uint16_t)minutes);
		if (st == RCV_HID_ST_STARTED) {
			printk("WOM command queued; waiting for tracker results (entry success means accepted, not asleep)\n");
		} else {
			printk("WOM command request failed: status %u\n", st);
		}
		return;
	}

	uint8_t cmd_flag = 0xFF;
	const char *cmd_name = NULL;

	if (strcmp(arg2, "shutdown") == 0) {
		cmd_flag = ESB_PONG_FLAG_SHUTDOWN;
		cmd_name = "Shutdown";
	} else if (strcmp(arg2, "calibrate") == 0) {
		if (arg4 || arg5 || (arg3 && strcmp(arg3, "acc") != 0)) {
			printk("Usage: send <id|all> calibrate [acc]\n");
			return;
		}
		cmd_flag = arg3 ? ESB_PONG_FLAG_CALIBRATE_ACC : ESB_PONG_FLAG_CALIBRATE;
		cmd_name = arg3 ? "Accelerometer calibration (18 orientations)" : "Zero-bias calibration";
	} else if (strcmp(arg2, "6-side") == 0) {
		if (arg3 || arg4 || arg5) {
			printk("Usage: send <id|all> calibrate acc\n");
			return;
		}
		printk("'6-side' is the historical name; use 'calibrate acc' (18 orientations).\n");
		cmd_flag = ESB_PONG_FLAG_CALIBRATE_ACC;
		cmd_name = "Accelerometer calibration (18 orientations)";
	} else if (strcmp(arg2, "meow") == 0) {
		cmd_flag = ESB_PONG_FLAG_MEOW;
		cmd_name = "Meow";
	} else if (strcmp(arg2, "scan") == 0) {
		cmd_flag = ESB_PONG_FLAG_SCAN;
		cmd_name = "Sensor scan";
	} else if (strcmp(arg2, "mag") == 0) {
		if (!arg3) {
			printk("Usage: send <id|all> mag <on|off|clear|cal|auto on|auto off>\n");
			printk("  on       - Enable magnetometer\n");
			printk("  off      - Disable magnetometer\n");
			printk("  clear    - Clear magnetometer calibration\n");
			printk("  cal      - Start magnetometer calibration\n");
			printk("  auto on  - Enable online magnetometer calibration\n");
			printk("  auto off - Disable online magnetometer calibration\n");
			return;
		}

		uint8_t mag_cmd = 0xFF;
		const char *mag_name = NULL;

		if (strcmp(arg3, "on") == 0) {
			mag_cmd = ESB_PONG_FLAG_MAG_ON;
			mag_name = "Magnetometer enable";
		} else if (strcmp(arg3, "off") == 0) {
			mag_cmd = ESB_PONG_FLAG_MAG_OFF;
			mag_name = "Magnetometer disable";
		} else if (strcmp(arg3, "clear") == 0) {
			mag_cmd = ESB_PONG_FLAG_MAG_CLEAR;
			mag_name = "Magnetometer calibration clear";
		} else if (strcmp(arg3, "cal") == 0 || strcmp(arg3, "calibrate") == 0) {
			mag_cmd = ESB_PONG_FLAG_MAG_CAL;
			mag_name = "Magnetometer calibration";
		} else if (strcmp(arg3, "auto") == 0 || strcmp(arg3, "online") == 0) {
			if (!arg4) {
				printk("Usage: send <id|all> mag %s <on|off>\n", arg3);
				return;
			}
			if (strcmp(arg4, "on") == 0) {
				mag_cmd = ESB_PONG_FLAG_MAG_AUTO_ON;
				mag_name = "Online magnetometer calibration enable";
			} else if (strcmp(arg4, "off") == 0) {
				mag_cmd = ESB_PONG_FLAG_MAG_AUTO_OFF;
				mag_name = "Online magnetometer calibration disable";
			} else {
				printk("Invalid mag %s argument: %s (use 'on' or 'off')\n", arg3, arg4);
				return;
			}
		} else {
			printk("Unknown mag subcommand: %s (use 'on', 'off', 'clear', 'cal' or 'auto')\n", arg3);
			return;
		}

		console_send_flag(target_all, tracker_id, mag_cmd, mag_name);
		return;
	} else if (strcmp(arg2, "reboot") == 0) {
		cmd_flag = ESB_PONG_FLAG_REBOOT;
		cmd_name = "Reboot";
	} else if (strcmp(arg2, "clear") == 0) {
		cmd_flag = ESB_PONG_FLAG_CLEAR;
		cmd_name = "Clear pairing";
	} else if (strcmp(arg2, "dfu") == 0) {
		if (arg3 && strcmp(arg3, "ota") == 0) {
			cmd_flag = ESB_PONG_FLAG_DFU_OTA;
			cmd_name = "OTA DFU mode";
		} else if (!arg3) {
			cmd_flag = ESB_PONG_FLAG_DFU;
			cmd_name = "UF2 DFU mode";
		} else {
			printk("Unknown dfu subcommand: %s (use 'ota' or omit it)\n", arg3);
			return;
		}
	} else if (strcmp(arg2, "fusion") == 0) {
		cmd_flag = ESB_PONG_FLAG_FUSION_RESET;
		cmd_name = "Fusion reset";
	} else if (strcmp(arg2, "channel") == 0) {
		if (!arg3) {
			printk("Usage: send all channel <0-100>\n");
			printk("Example: send all channel 25 - Set all active trackers to channel 25\n");
			return;
		}

		long channel;
		if (!parse_long_bounded(arg3, 0, 100, &channel)) {
			printk("Invalid channel. Must be a number between 0 and 100.\n");
			return;
		}

		if (!target_all) {
			printk("Channel command only supports 'all' target\n");
			return;
		}

		uint8_t st = rcv_cmd_tracker_channel_all((uint8_t)channel);
		if (st == RCV_HID_ST_STARTED || st == RCV_HID_ST_OK) {
			printk("Setting RF channel to %d for all active trackers and receiver\n", (int)channel);
		}
		return;
	} else if (strcmp(arg2, "clearchannel") == 0) {
		if (!target_all) {
			printk("Clearchannel command only supports 'all' target\n");
			return;
		}

		uint8_t st = rcv_cmd_tracker_channel_clear_all();
		if (st == RCV_HID_ST_STARTED || st == RCV_HID_ST_OK) {
			printk("Clearing RF channel for all active trackers and receiver\n");
		}
		return;
	} else if (strcmp(arg2, "sens") == 0) {
		if (!arg3) {
			printk("Usage: send <id|all> sens <x>,<y>,<z>\n");
			printk("Usage: send <id|all> sens reset\n");
			printk("Usage: send <id|all> sens auto <x|y|z> [revolutions]\n");
			printk("Example: send 0 sens 1.0,1.0,1.0\n");
			printk("Example: send all sens reset\n");
			printk("Example: send 0 sens auto z 5\n");
			return;
		}

		if (strcmp(arg3, "reset") == 0) {
			console_send_flag(target_all, tracker_id, ESB_PONG_FLAG_SENS_RESET, "Sens reset");
		} else if (strcmp(arg3, "auto") == 0) {
			if (!arg4 || arg4[0] == '\0') {
				printk("Usage: send <id|all> sens auto <x|y|z> [revolutions]\n");
				return;
			}

			if (arg4[1] != '\0') {
				printk("Usage: send <id|all> sens auto <x|y|z> [revolutions]\n");
				return;
			}

			uint8_t axis;
			if (arg4[0] == 'x') {
				axis = 0;
			} else if (arg4[0] == 'y') {
				axis = 1;
			} else if (arg4[0] == 'z') {
				axis = 2;
			} else {
				printk("Invalid axis '%s'. Use x, y, or z.\n", arg4);
				return;
			}

			uint16_t revolutions = 0;
			if (arg5 && *arg5) {
				long value;
				if (!parse_long_bounded(arg5, 1, SENS_AUTO_MAX_REVOLUTIONS, &value)) {
					printk("Invalid revolutions '%s'. Use 1 to %u.\n", arg5, SENS_AUTO_MAX_REVOLUTIONS);
					return;
				}
				revolutions = (uint16_t)value;
			}

			uint8_t tid = target_all ? RCV_HID_TARGET_ALL : tracker_id;
			uint8_t st = rcv_cmd_remote_sens_auto(tid, axis, revolutions);
			if (st == RCV_HID_ST_QUEUED) {
				if (target_all) {
					if (revolutions == 0) {
						printk(
							"Sens auto request sent to all active trackers on %c axis using tracker "
							"default rev\n",
							'x' + axis
						);
					} else {
						printk(
							"Sens auto request sent to all active trackers on %c axis for %u rev\n",
							'x' + axis,
							revolutions
						);
					}
				} else if (revolutions == 0) {
					printk(
						"Sens auto request sent to tracker %d on %c axis using tracker default rev\n",
						tracker_id,
						'x' + axis
					);
				} else {
					printk(
						"Sens auto request sent to tracker %d on %c axis for %u rev\n",
						tracker_id,
						'x' + axis,
						revolutions
					);
				}
			} else if (!target_all) {
				printk("Sens auto request not queued: tracker %d is not active or invalid\n", tracker_id);
			}
		} else {
			char *token;
			char *endptr;
			int token_count = 0;
			float values[3];

			token = strtok(arg3, ",");
			while (token != NULL && token_count < 3) {
				values[token_count] = strtof(token, &endptr);
				if (token == endptr || *endptr != '\0') {
					printk("Invalid float value: %s\n", token);
					break;
				}
				token_count++;
				token = strtok(NULL, ",");
			}

			if (token_count == 3) {
				uint8_t tid = target_all ? RCV_HID_TARGET_ALL : tracker_id;
				if (rcv_cmd_remote_sens_set(tid, values[0], values[1], values[2]) == RCV_HID_ST_QUEUED) {
					if (target_all) {
						printk(
							"Sens set (%.2f,%.2f,%.2f) request sent to all active trackers\n",
							(double)values[0],
							(double)values[1],
							(double)values[2]
						);
					} else {
						printk(
							"Sens set (%.2f,%.2f,%.2f) request sent to tracker %d\n",
							(double)values[0],
							(double)values[1],
							(double)values[2],
							tracker_id
						);
					}
				}
			} else {
				printk("Error: Invalid format. Use: sens <x>,<y>,<z> or sens reset\n");
				printk("Example: sens 10.5,-2.1,15.0\n");
			}
		}
		return;
	} else if (strcmp(arg2, "reset") == 0) {
		if (!arg3) {
			printk("Usage: send <id|all> reset <zro|acc|bat|mag|tcal|fusion>\n");
			printk("Example: send 0 reset zro\n");
			printk("Example: send all reset acc\n");
			return;
		}

		uint8_t reset_cmd = 0xFF;
		const char *reset_name = NULL;

		if (strcmp(arg3, "zro") == 0) {
			reset_cmd = ESB_PONG_FLAG_RESET_ZRO;
			reset_name = "ZRO reset";
		} else if (strcmp(arg3, "acc") == 0) {
			reset_cmd = ESB_PONG_FLAG_RESET_ACC;
			reset_name = "Accelerometer reset";
		} else if (strcmp(arg3, "bat") == 0) {
			reset_cmd = ESB_PONG_FLAG_RESET_BAT;
			reset_name = "Battery reset";
		} else if (strcmp(arg3, "mag") == 0) {
			reset_cmd = ESB_PONG_FLAG_MAG_CLEAR;
			reset_name = "Magnetometer calibration reset";
		} else if (strcmp(arg3, "tcal") == 0) {
			reset_cmd = ESB_PONG_FLAG_RESET_TCAL;
			reset_name = "Temperature calibration reset";
		} else if (strcmp(arg3, "fusion") == 0) {
			reset_cmd = ESB_PONG_FLAG_FUSION_RESET;
			reset_name = "Fusion reset";
		} else {
			printk("Unknown reset command: %s\n", arg3);
			printk("Available: zro, acc, bat, mag, tcal, fusion\n");
			return;
		}

		console_send_flag(target_all, tracker_id, reset_cmd, reset_name);
		return;
	} else if (strcmp(arg2, "ping") == 0) {
		console_send_flag(target_all, tracker_id, ESB_PONG_FLAG_PING, "Ping");
		return;
	} else if (strcmp(arg2, "tcal") == 0) {
		if (!arg3) {
			printk("Usage: send <id|all> tcal <on|off|auto on|auto off|boot on|boot off|clear|heat start>\n");
			printk("Example: send 0 tcal on       - Enable temperature calibration on tracker 0\n");
			printk(
				"Example: send all tcal off    - Disable temperature calibration on all active trackers\n"
			);
			printk("Example: send 0 tcal auto on  - Enable auto-calibration on tracker 0\n");
			printk("Example: send all tcal auto off - Disable auto-calibration on all active trackers\n");
			printk("Example: send 0 tcal boot on - Enable boot calibration on tracker 0\n");
			printk("Example: send 0 tcal clear - Clear temperature calibration on tracker 0\n");
			printk("Example: send 0 tcal heat start - Request heated calibration at the tracker default target\n");
			printk("Heated-start ACK confirms delivery only, not heating acceptance.\n");
			return;
		}

		if (strcmp(arg3, "heat") == 0) {
			if (!arg4 || strcmp(arg4, "start") != 0 || arg5) {
				printk("Usage: send <id|all> tcal heat start (no target argument)\n");
				return;
			}
			console_send_flag(target_all, tracker_id, ESB_PONG_FLAG_TCAL_HEATED_START, "Heated T-Cal start");
		} else if (strcmp(arg3, "on") == 0) {
			console_send_flag(target_all, tracker_id, ESB_PONG_FLAG_TCAL_ON, "T-Cal enable");
		} else if (strcmp(arg3, "off") == 0) {
			console_send_flag(target_all, tracker_id, ESB_PONG_FLAG_TCAL_OFF, "T-Cal disable");
		} else if (strcmp(arg3, "auto") == 0) {
			if (!arg4) {
				printk("Usage: send <id|all> tcal auto <on|off>\n");
				return;
			}

			uint8_t tcal_cmd = 0xFF;
			const char *tcal_name = NULL;

			if (strcmp(arg4, "on") == 0) {
				tcal_cmd = ESB_PONG_FLAG_TCAL_AUTO_ON;
				tcal_name = "T-Cal auto-calibration enable";
			} else if (strcmp(arg4, "off") == 0) {
				tcal_cmd = ESB_PONG_FLAG_TCAL_AUTO_OFF;
				tcal_name = "T-Cal auto-calibration disable";
			} else {
				printk("Invalid tcal auto argument: %s (use 'on' or 'off')\n", arg4);
				return;
			}

			console_send_flag(target_all, tracker_id, tcal_cmd, tcal_name);
		} else if (strcmp(arg3, "clear") == 0) {
			console_send_flag(target_all, tracker_id, ESB_PONG_FLAG_RESET_TCAL, "T-Cal clear");
		} else if (strcmp(arg3, "boot") == 0) {
			if (!arg4) {
				printk("Usage: send <id|all> tcal boot <on|off>\n");
				return;
			}

			uint8_t tcal_cmd = 0xFF;
			const char *tcal_name = NULL;

			if (strcmp(arg4, "on") == 0) {
				tcal_cmd = ESB_PONG_FLAG_TCAL_BOOT_ON;
				tcal_name = "T-Cal boot-calibration enable";
			} else if (strcmp(arg4, "off") == 0) {
				tcal_cmd = ESB_PONG_FLAG_TCAL_BOOT_OFF;
				tcal_name = "T-Cal boot-calibration disable";
			} else {
				printk("Invalid tcal boot argument: %s (use 'on' or 'off')\n", arg4);
				return;
			}

			console_send_flag(target_all, tracker_id, tcal_cmd, tcal_name);
		} else {
			printk("Unknown tcal subcommand: %s (use 'on', 'off', 'auto', 'boot', 'clear' or 'heat start')\n", arg3);
		}
		return;
	} else if (strcmp(arg2, "tdma") == 0) {
		if (!arg3) {
			printk("Usage: send <id|all> tdma <on|off>\n");
			printk("Example: send 0 tdma on       - Enable TDMA scheduling on tracker 0\n");
			printk("Example: send all tdma off    - Disable TDMA scheduling on all active trackers\n");
			return;
		}

		if (strcmp(arg3, "on") == 0) {
			console_send_flag(target_all, tracker_id, ESB_PONG_FLAG_TDMA_ON, "TDMA enable");
		} else if (strcmp(arg3, "off") == 0) {
			console_send_flag(target_all, tracker_id, ESB_PONG_FLAG_TDMA_OFF, "TDMA disable");
		} else {
			printk("Unknown tdma subcommand: %s (use 'on' or 'off')\n", arg3);
		}
		return;
	} else if (strcmp(arg2, "test") == 0) {
		if (!arg3) {
			printk("Usage: send <id|all> test <on|off> [tps]\n");
			printk("Example: send 0 test on       - Enable test mode on tracker 0 (default rate)\n");
			printk("Example: send all test on 200 - Enable test mode, target 200 TPS\n");
			printk("  TPS is clamped to the tracker's TDMA slot capacity; 0 = built-in default.\n");
			return;
		}

		if (strcmp(arg3, "on") == 0) {
			/* One test-specific command carries the optional TPS (0 =
			 * built-in default) and the ON flag, so the rate is published
			 * before the tracker sees the flag. */
			uint16_t tps = 0;
			if (arg4 && *arg4) {
				long v;
				if (!parse_long_bounded(arg4, 0, 1000, &v)) {
					printk("Invalid TPS. Must be 0-1000 (0 = default).\n");
					return;
				}
				tps = (uint16_t)v;
			}
			uint8_t st = rcv_cmd_remote_test_on(target_all ? RCV_HID_TARGET_ALL : tracker_id, tps);
			if (st == RCV_HID_ST_OK || st == RCV_HID_ST_STARTED) {
				if (target_all) {
					printk(
						"Test mode enable sent to all active trackers (target %u TPS%s)\n",
						tps,
						tps == 0 ? ", built-in default" : ""
					);
				} else {
					printk(
						"Test mode enable sent to tracker %d (target %u TPS%s)\n",
						tracker_id,
						tps,
						tps == 0 ? ", built-in default" : ""
					);
				}
			} else if (st == RCV_HID_ST_ENOENT) {
				printk("Test mode enable failed: no active trackers\n");
			} else {
				printk("Test mode enable failed: status %u\n", st);
			}
		} else if (strcmp(arg3, "off") == 0) {
			uint8_t st = rcv_cmd_remote_test_off(target_all ? RCV_HID_TARGET_ALL : tracker_id);
			if (st == RCV_HID_ST_OK || st == RCV_HID_ST_STARTED) {
				if (target_all) {
					printk("Test mode disable sent to all active trackers\n");
				} else {
					printk("Test mode disable sent to tracker %d\n", tracker_id);
				}
			} else if (st == RCV_HID_ST_ENOENT) {
				printk("Test mode disable failed: no active trackers\n");
			} else {
				printk("Test mode disable failed: status %u\n", st);
			}
		} else {
			printk("Unknown test subcommand: %s (use 'on [tps]' or 'off')\n", arg3);
		}
		return;
	}

	if (cmd_flag != 0xFF) {
		console_send_flag(target_all, tracker_id, cmd_flag, cmd_name);
	} else {
		printk("Unknown command: %s\n", arg2);
		printk(
			"Available commands: shutdown, calibrate [acc], meow, scan, mag, reboot, clear, dfu [ota], "
			"fusion, sens, "
			"reset, ping, tcal, tdma, test\n"
		);
	}
}
```
